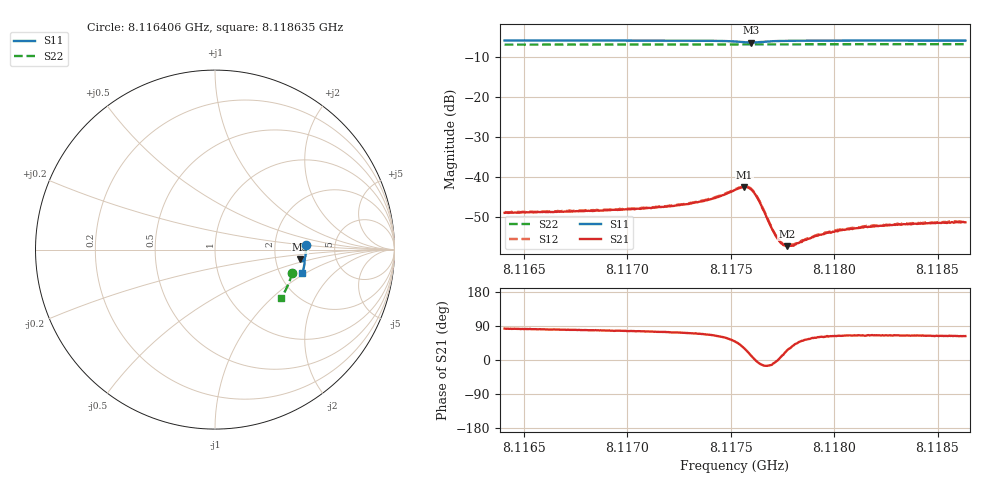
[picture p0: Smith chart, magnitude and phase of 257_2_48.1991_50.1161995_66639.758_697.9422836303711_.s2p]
#  HZ  S  RI  R  50.00
! Rohde & Schwarz Vector Network Analyzer
! Rohde-Schwarz,ZNB20-2Port,1311601062101988,3.16
! Created: UTC 3/20/2024, 11:47:36 AM
! freq[Hz]  re:S11  im:S11  re:S21  im:S21  re:S12  im:S12  re:S22  im:S22
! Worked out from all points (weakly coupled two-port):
!   401 points, 8.116406 GHz to 8.118635 GHz, reference 50 ohm
!   highest |S21| = -42.48 dB at 8.117565 GHz (marker M1); lowest = -57.3 dB at 8.117771 GHz (marker M2)
!   lowest |S11| = -6.4 dB at 8.117598 GHz (marker M3), VSWR 2.83, Z = 138 - j19.5 ohm
!   |S11| at or under -10 dB: nowhere
!   |S22| runs from -6.9 to -6.8 dB; largest |S21 - S12| = 0.00018
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8.1164056e9  0.506 0.0281  0.000444 0.00354  0.000516 0.00363  0.4305 -0.1294
8.116779e9  0.5063 -0.00045  0.000712 0.00366  0.00078 0.00374  0.4231 -0.1541
8.1171524e9  0.5045 -0.03  0.00114 0.00408  0.00119 0.00413  0.4148 -0.1786
8.1172639e9  0.5031 -0.0395  0.00139 0.0043  0.00146 0.00432  0.4116 -0.186
8.1173753e9  0.5006 -0.05  0.00192 0.00471  0.002 0.00477  0.4086 -0.1934
8.1174589e9  0.4959 -0.0588  0.0029 0.00516  0.00299 0.00521  0.406 -0.1987
8.1175202e9  0.488 -0.0648  0.00454 0.0052  0.0047 0.00525  0.4041 -0.2025
8.1175648e9  0.4781 -0.0631  0.00645 0.00386  0.00661 0.0039  0.4024 -0.2052
8.1175816e9  0.4752 -0.0594  0.0069 0.00274  0.00706 0.00274  0.4017 -0.2059
8.1175983e9  0.4742 -0.0546  0.00684 0.00139  0.00701 0.00134  0.4013 -0.2068
8.117615e9  0.476 -0.0498  0.00625 0.000168  0.00636 0.000101  0.4011 -0.2074
8.1176317e9  0.4798 -0.0468  0.00527 -0.000612  0.00537 -0.00066  0.4008 -0.2084
8.117693e9  0.4927 -0.0495  0.00236 -0.000564  0.00243 -0.000631  0.3995 -0.2124
8.1177209e9  0.4955 -0.0532  0.00177 -0.000112  0.00184 -0.000152  0.3988 -0.2142
8.1177432e9  0.4969 -0.0561  0.00147 0.000222  0.00152 0.000232  0.3983 -0.2156
8.117771e9  0.4979 -0.0596  0.00124 0.00058  0.00126 0.000565  0.3973 -0.2176
8.1178045e9  0.4984 -0.0634  0.00108 0.000871  0.00111 0.00093  0.3963 -0.2197
8.1178937e9  0.4988 -0.0726  0.000933 0.0015  0.00097 0.0015  0.3936 -0.2253
8.1180163e9  0.4977 -0.0835  0.000924 0.00188  0.000995 0.00195  0.3896 -0.233
8.1181445e9  0.496 -0.0938  0.00102 0.00213  0.00103 0.00221  0.3851 -0.2409
8.1182671e9  0.4942 -0.1034  0.00104 0.00227  0.0011 0.00229  0.3808 -0.2483
8.1186349e9  0.4875 -0.1307  0.00123 0.00242  0.00128 0.00248  0.367 -0.2702
